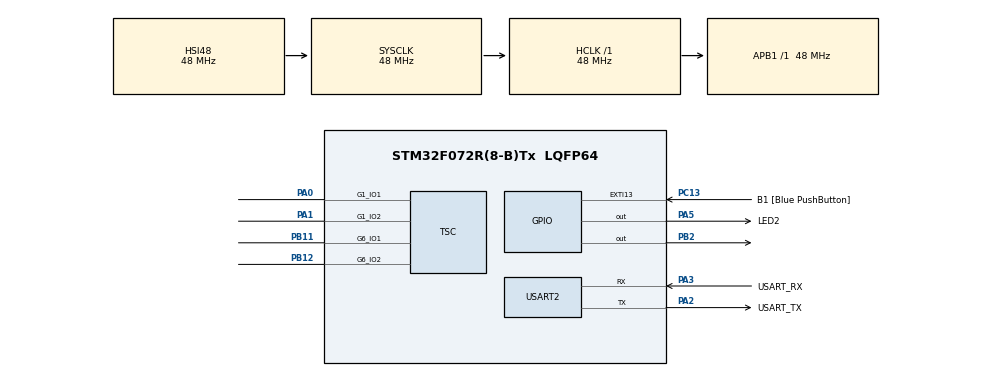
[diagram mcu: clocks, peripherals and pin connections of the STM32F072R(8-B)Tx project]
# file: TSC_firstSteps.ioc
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Mcu.Family=STM32F0
Mcu.Name=STM32F072R(8-B)Tx
Mcu.Package=LQFP64
NVIC.TSC_IRQn=true\:0\:0\:false\:false\:true\:true\:true\:true
PA0.Mode=G1_IO1-Shield
PA0.Signal=TSC_G1_IO1
PA1.Mode=G1_IO2-Sampling
PA1.Signal=TSC_G1_IO2
PA13.GPIO_Label=TMS
PA13.Mode=Serial_Wire
PA13.Signal=SYS_SWDIO
PA14.GPIO_Label=TCK
PA14.Mode=Serial_Wire
PA14.Signal=SYS_SWCLK
PA2.GPIO_Label=USART_TX
PA2.GPIO_Mode=GPIO_MODE_AF_PP
PA2.GPIO_PuPd=GPIO_NOPULL
PA2.GPIO_Speed=GPIO_SPEED_FREQ_LOW
PA2.Mode=Asynchronous
PA2.Signal=USART2_TX
PA3.GPIO_Label=USART_RX
PA3.GPIO_Mode=GPIO_MODE_AF_PP
PA3.GPIO_PuPd=GPIO_NOPULL
PA3.GPIO_Speed=GPIO_SPEED_FREQ_LOW
PA3.Mode=Asynchronous
PA3.Signal=USART2_RX
PA5.GPIO_Label=LED2
PA5.Signal=GPIO_Output
PB11.Mode=G6_IO1-Sampling
PB11.Signal=TSC_G6_IO1
PB12.Mode=G6_IO2-Channel
PB12.Signal=TSC_G6_IO2
PB2.Signal=GPIO_Output
PC13.GPIO_Label=B1 [Blue PushButton]
PC13.GPIO_ModeDefaultEXTI=GPIO_MODE_IT_FALLING
PC13.Signal=GPXTI13
PC14-OSC32_IN.Mode=LSE-External-Oscillator
PC14-OSC32_IN.Signal=RCC_OSC32_IN
PC15-OSC32_OUT.Mode=LSE-External-Oscillator
PC15-OSC32_OUT.Signal=RCC_OSC32_OUT
PF0-OSC_IN.Mode=HSE-External-Clock-Source
PF0-OSC_IN.Signal=RCC_OSC_IN
PF1-OSC_OUT.Signal=RCC_OSC_OUT
ProjectManager.HeapSize=0x200
ProjectManager.StackSize=0x400
ProjectManager.TargetToolchain=STM32CubeIDE
RCC.AHBFreq_Value=48000000
RCC.APB1Freq_Value=48000000
RCC.APB1TimFreq_Value=48000000
RCC.FLatency-AdvancedSettings=FLASH_LATENCY_1
RCC.HCLKFreq_Value=48000000
RCC.PLLDivider=RCC_PREDIV_DIV2
RCC.PLLMUL=RCC_PLL_MUL12
RCC.PREFETCH_ENABLE-AdvancedSettings=1
RCC.SYSCLKFreq_VALUE=48000000
RCC.SYSCLKSource=RCC_SYSCLKSOURCE_HSI48
TOUCHSENSING.IO_TOUCHKEY1=G6_IO2
TOUCHSENSING.TSLPRM_ACQ_MIN=5
TOUCHSENSING.TSLPRM_SENSORS_DATAS=TSLPRM_TOTAL_TOUCHKEYS 1 1 
TOUCHSENSING.TSLPRM_TKEY_CALIB_TH=90
TOUCHSENSING.TSLPRM_TKEY_DETECT_IN_TH=255
TOUCHSENSING.TSLPRM_TKEY_DETECT_OUT_TH=200
TOUCHSENSING.TSLPRM_TOTAL_TOUCHKEYS=1
TOUCHSENSING.TSLPRM_USE_PROX=0
TSC.CTPulseHighLength=TSC_CTPH_6CYCLES
TSC.CTPulseLowLength=TSC_CTPL_6CYCLES
TSC.ChannelIOs-G6_IO2=TSC_GROUP6_IO2
TSC.MaxCountValue=TSC_MCV_16383
TSC.SamplingIOs-G1_IO2=TSC_GROUP1_IO2
TSC.SamplingIOs-G6_IO1=TSC_GROUP6_IO1
TSC.ShieldIOs-G1_IO1=TSC_GROUP1_IO1
USART2.VirtualMode=VM_ASYNC
USART2.VirtualMode-Asynchronous=VM_ASYNC
VP_TOUCHSENSING_VS_TOUCHSENSING.Mode=TouchSensing_Enabled
board=NUCLEO-F072RB

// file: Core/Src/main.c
/* USER CODE BEGIN Header */
/**
  ******************************************************************************
  * @file           : main.c
  * @brief          : Main program body
  ******************************************************************************
  * @attention
  *
  * Copyright (c) 2024 STMicroelectronics.
  * All rights reserved.
  *
  * This software is licensed under terms that can be found in the LICENSE file
  * in the root directory of this software component.
  * If no LICENSE file comes with this software, it is provided AS-IS.
  *
  ******************************************************************************
  */
/* USER CODE END Header */
#include "main.h"
#include "touchsensing.h"

/* USER CODE BEGIN Includes */
#include "tsl.h"
/* USER CODE END Includes */

TSC_HandleTypeDef htsc;

UART_HandleTypeDef huart2;

/* USER CODE BEGIN PV */
void Process_Sensors(tsl_user_status_t status);

/* USER CODE END PV */

void SystemClock_Config(void);
static void MX_GPIO_Init(void);
static void MX_USART2_UART_Init(void);
static void MX_TSC_Init(void);

int main(void)
{

  /* USER CODE BEGIN 1 */
  tsl_user_status_t tsl_status;

  /* USER CODE END 1 */

  /* MCU Configuration--------------------------------------------------------*/

  /* Reset of all peripherals, Initializes the Flash interface and the Systick. */
  HAL_Init();

  /* Configure the system clock */
  SystemClock_Config();

  /* Initialize all configured peripherals */
  MX_GPIO_Init();
  MX_USART2_UART_Init();
  MX_TSC_Init();
  MX_TOUCHSENSING_Init();
  /* USER CODE BEGIN 2 */
  tsl_user_Init();

  /* USER CODE END 2 */

  /* Infinite loop */
  /* USER CODE BEGIN WHILE */
  while (1)
  {
	  tsl_status =tsl_user_Exec();
	  if(tsl_status != TSL_USER_STATUS_BUSY){
		  Process_Sensors(tsl_status);

	  HAL_Delay(1000);
	  Process_Sensors(TSL_USER_STATUS_OK_ECS_ON);

	  //}
    /* USER CODE END WHILE */

  }
}

void SystemClock_Config(void)
{
  RCC_OscInitTypeDef RCC_OscInitStruct = {0};
  RCC_ClkInitTypeDef RCC_ClkInitStruct = {0};
  RCC_PeriphCLKInitTypeDef PeriphClkInit = {0};

  /** Initializes the RCC Oscillators according to the specified parameters
  * in the RCC_OscInitTypeDef structure.
  */
  RCC_OscInitStruct.OscillatorType = RCC_OSCILLATORTYPE_HSI48;
  RCC_OscInitStruct.HSI48State = RCC_HSI48_ON;
  RCC_OscInitStruct.PLL.PLLState = RCC_PLL_NONE;
  if (HAL_RCC_OscConfig(&RCC_OscInitStruct) != HAL_OK)
  {
    Error_Handler();
  }

  /** Initializes the CPU, AHB and APB buses clocks
  */
  RCC_ClkInitStruct.ClockType = RCC_CLOCKTYPE_HCLK|RCC_CLOCKTYPE_SYSCLK
                              |RCC_CLOCKTYPE_PCLK1;
  RCC_ClkInitStruct.SYSCLKSource = RCC_SYSCLKSOURCE_HSI48;
  RCC_ClkInitStruct.AHBCLKDivider = RCC_SYSCLK_DIV1;
  RCC_ClkInitStruct.APB1CLKDivider = RCC_HCLK_DIV1;

  if (HAL_RCC_ClockConfig(&RCC_ClkInitStruct, FLASH_LATENCY_1) != HAL_OK)
  {
    Error_Handler();
  }
  PeriphClkInit.PeriphClockSelection = RCC_PERIPHCLK_USART2;
  PeriphClkInit.Usart2ClockSelection = RCC_USART2CLKSOURCE_PCLK1;
  if (HAL_RCCEx_PeriphCLKConfig(&PeriphClkInit) != HAL_OK)
  {
    Error_Handler();
  }
}

static void MX_TSC_Init(void)
{

  /** Configure the TSC peripheral
  */
  htsc.Instance = TSC;
  htsc.Init.CTPulseHighLength = TSC_CTPH_6CYCLES;
  htsc.Init.CTPulseLowLength = TSC_CTPL_6CYCLES;
  htsc.Init.SpreadSpectrum = DISABLE;
  htsc.Init.SpreadSpectrumDeviation = 1;
  htsc.Init.SpreadSpectrumPrescaler = TSC_SS_PRESC_DIV1;
  htsc.Init.PulseGeneratorPrescaler = TSC_PG_PRESC_DIV4;
  htsc.Init.MaxCountValue = TSC_MCV_16383;
  htsc.Init.IODefaultMode = TSC_IODEF_OUT_PP_LOW;
  htsc.Init.SynchroPinPolarity = TSC_SYNC_POLARITY_FALLING;
  htsc.Init.AcquisitionMode = TSC_ACQ_MODE_NORMAL;
  htsc.Init.MaxCountInterrupt = DISABLE;
  htsc.Init.ChannelIOs = TSC_GROUP6_IO2;
  htsc.Init.ShieldIOs = TSC_GROUP1_IO1;
  htsc.Init.SamplingIOs = TSC_GROUP1_IO2|TSC_GROUP6_IO1;
  if (HAL_TSC_Init(&htsc) != HAL_OK)
  {
    Error_Handler();
  }

}

static void MX_USART2_UART_Init(void)
{

  huart2.Instance = USART2;
  huart2.Init.BaudRate = 38400;
  huart2.Init.WordLength = UART_WORDLENGTH_8B;
  huart2.Init.StopBits = UART_STOPBITS_1;
  huart2.Init.Parity = UART_PARITY_NONE;
  huart2.Init.Mode = UART_MODE_TX_RX;
  huart2.Init.HwFlowCtl = UART_HWCONTROL_NONE;
  huart2.Init.OverSampling = UART_OVERSAMPLING_16;
  huart2.Init.OneBitSampling = UART_ONE_BIT_SAMPLE_DISABLE;
  huart2.AdvancedInit.AdvFeatureInit = UART_ADVFEATURE_NO_INIT;
  if (HAL_UART_Init(&huart2) != HAL_OK)
  {
    Error_Handler();
  }

}

static void MX_GPIO_Init(void)
{
  GPIO_InitTypeDef GPIO_InitStruct = {0};

  /* GPIO Ports Clock Enable */
  __HAL_RCC_GPIOC_CLK_ENABLE();
  __HAL_RCC_GPIOF_CLK_ENABLE();
  __HAL_RCC_GPIOA_CLK_ENABLE();
  __HAL_RCC_GPIOB_CLK_ENABLE();

  /*Configure GPIO pin Output Level */
  HAL_GPIO_WritePin(LED2_GPIO_Port, LED2_Pin, GPIO_PIN_RESET);

  /*Configure GPIO pin Output Level */
  HAL_GPIO_WritePin(GPIOB, GPIO_PIN_2, GPIO_PIN_RESET);

  /*Configure GPIO pin : B1_Pin */
  GPIO_InitStruct.Pin = B1_Pin;
  GPIO_InitStruct.Mode = GPIO_MODE_IT_FALLING;
  GPIO_InitStruct.Pull = GPIO_NOPULL;
  HAL_GPIO_Init(B1_GPIO_Port, &GPIO_InitStruct);

  /*Configure GPIO pin : LED2_Pin */
  GPIO_InitStruct.Pin = LED2_Pin;
  GPIO_InitStruct.Mode = GPIO_MODE_OUTPUT_PP;
  GPIO_InitStruct.Pull = GPIO_NOPULL;
  GPIO_InitStruct.Speed = GPIO_SPEED_FREQ_LOW;
  HAL_GPIO_Init(LED2_GPIO_Port, &GPIO_InitStruct);

  /*Configure GPIO pin : PB2 */
  GPIO_InitStruct.Pin = GPIO_PIN_2;
  GPIO_InitStruct.Mode = GPIO_MODE_OUTPUT_PP;
  GPIO_InitStruct.Pull = GPIO_NOPULL;
  GPIO_InitStruct.Speed = GPIO_SPEED_FREQ_LOW;
  HAL_GPIO_Init(GPIOB, &GPIO_InitStruct);

}

/* USER CODE BEGIN 4 */
void Process_Sensors(tsl_user_status_t status){
	if (MyTKeys[0].p_Data->StateId == TSL_STATEID_DEB_DETECT) HAL_GPIO_WritePin(GPIOA, GPIO_PIN_5, GPIO_PIN_SET);
	else HAL_GPIO_WritePin(GPIOA, GPIO_PIN_5, GPIO_PIN_RESET);

	switch(status){

	case TSL_USER_STATUS_OK_ECS_OFF:
		HAL_GPIO_WritePin(GPIOB, GPIO_PIN_2, GPIO_PIN_RESET);
		break;

	case TSL_USER_STATUS_OK_ECS_ON:
		HAL_GPIO_TogglePin(LED2_GPIO_Port, LED2_Pin);
		break;

	default:
		break;
	}

}

/* USER CODE END 4 */

void Error_Handler(void)
{
  __disable_irq();
  while (1)
  {
  }
}
